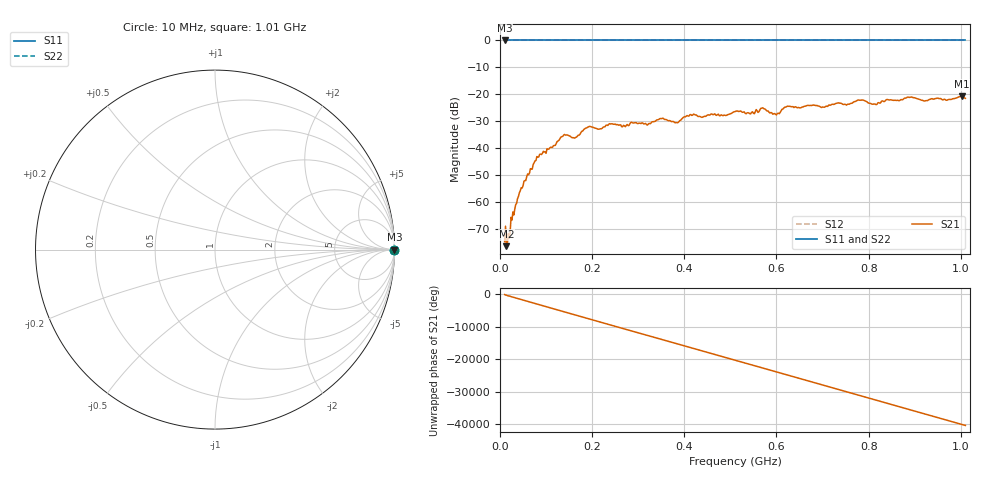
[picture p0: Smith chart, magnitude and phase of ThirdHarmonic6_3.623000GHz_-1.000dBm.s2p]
! 8/17/2025 12:08:01 PM
! C:\ANRITSUVNA\TEMP\TEMP.S2P
! CHANNEL.1
! TR.MEASUREMENT
! RAW.DATA
! RF.CORRECTION.OFF
! AVERAGING.OFF
! IF.BANDWIDTH: 5KHZ
! SWEEPTYPE:  FREQ.SWEEP(Linear)
! Reference Plane Port Info
! PORT:  PORT1  PORT2
! DISTANCE:  0  m  0  m
! TIME:  0  s  0  s
! PHASE.OFFSET:  0  deg.  0  deg.
! LOSS:  0  dB  0  dB
! REF.LOSS:  0  dB  0  dB
! REF.FREQ:  0  Hz  0  Hz
! Power Info
! POWER:  -20  dBm  -20  dBm
! EFF.POWER:  -20  dBm  -20  dBm
! SOURCE.ATTEN:  0  dB  0  dB
! TEST.ATTEN:  0  dB  0  dB
# GHZ S RI R 50.0
! FREQ.GHZ  S11RE  S11IM  S21RE  S21IM  S12RE  S12IM  S22RE  S22IM
!; PortSelection: Port_12
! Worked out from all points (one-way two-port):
!   501 points, 10 MHz to 1.01 GHz, reference 50 ohm
!   highest |S21| = -20.71 dB at 1.002 GHz (marker M1); lowest = -76.5 dB at 14 MHz (marker M2)
!   lowest |S11| = 0.0 dB at 10 MHz (marker M3)
!   |S11| at or under -10 dB: nowhere
!   |S22| runs from 0.0 to 0.0 dB; largest |S21 - S12| = 1.1
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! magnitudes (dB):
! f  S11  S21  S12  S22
! 10 MHz  0.0  -74.8  0.0  0.0
! 14 MHz  0.0  -76.5  0.0  0.0
! 18 MHz  0.0  -71.8  0.0  0.0
! 28 MHz  0.0  -63.7  0.0  0.0
! 42 MHz  0.0  -56.6  0.0  0.0
! 78 MHz  0.0  -44.6  0.0  0.0
! 136 MHz  0.0  -35.7  0.0  0.0
! 162 MHz  0.0  -36.3  0.0  0.0
! 178 MHz  0.0  -33.7  0.0  0.0
! 194 MHz  0.0  -31.9  0.0  0.0
! 322 MHz  0.0  -31.1  0.0  0.0
! 344 MHz  0.0  -29.4  0.0  0.0
! 384 MHz  0.0  -30.6  0.0  0.0
! 416 MHz  0.0  -27.9  0.0  0.0
! 510 MHz  0.0  -26.5  0.0  0.0
! 570 MHz  0.0  -25.0  0.0  0.0
! 596 MHz  0.0  -27.2  0.0  0.0
! 622 MHz  0.0  -24.6  0.0  0.0
! 678 MHz  0.0  -24.1  0.0  0.0
! 844 MHz  0.0  -22.1  0.0  0.0
! 1.002 GHz  0.0  -20.7  0.0  0.0
! 1.01 GHz  0.0  -21.5  0.0  0.0
